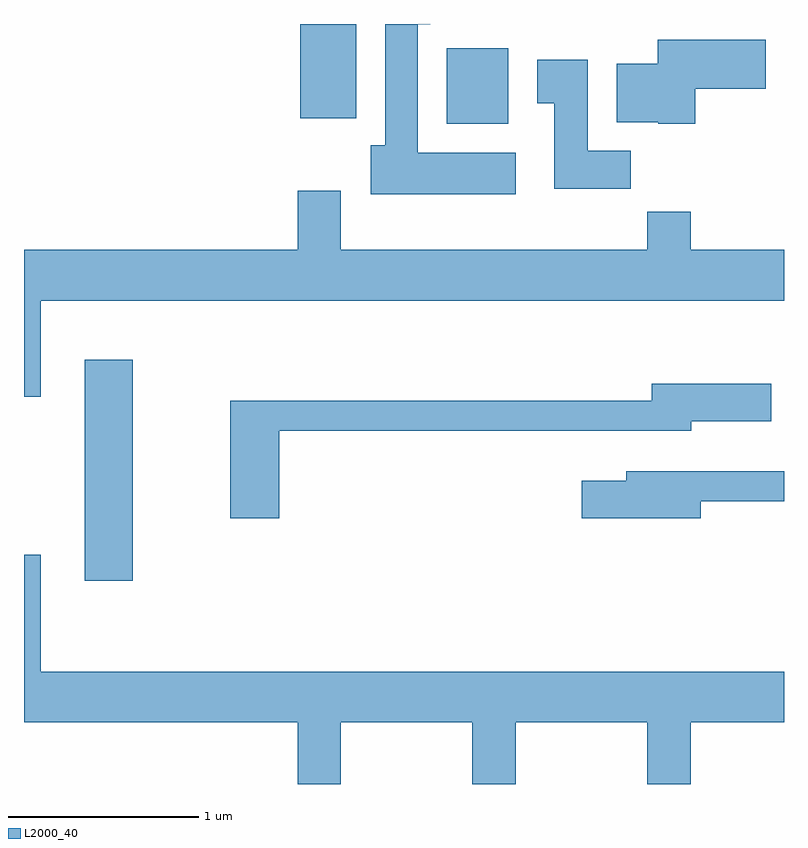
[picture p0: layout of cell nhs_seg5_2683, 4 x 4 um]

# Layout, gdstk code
import gdstk
lib = gdstk.Library(unit=1e-6, precision=1e-09)
def R(c, l, rs):  # rectangles x0, y0, x1, y1
    for r in rs: c.add(gdstk.rectangle(r[:2], r[2:], *l))
def P(c, l, *ps):  # polygons
    for p in ps: c.add(gdstk.Polygon(p, *l))
L2000_40 = (2000, 40)

nhs_seg5_2683 = lib.new_cell('nhs_seg5_2683')
R(nhs_seg5_2683, L2000_40, [(265.931,1413.141,266.184,1414.304), (267.836,1415.546,268.159,1415.944), (267.066,1415.576,267.359,1416.072)])
P(nhs_seg5_2683, L2000_40, [(268.199,1415.394),(267.684,1415.394),(267.684,1416.071),(267.748,1416.071),(267.748,1416.072),(267.511,1416.072),(267.511,1415.434),(267.436,1415.434),(267.436,1415.176),(268.199,1415.176)],
  [(269.144,1415.731),(269.514,1415.731),(269.514,1415.989),(268.946,1415.989),(268.946,1415.864),(268.731,1415.864),(268.731,1415.556),(268.95,1415.556),(268.95,1415.546),(269.144,1415.546)],
  [(268.804,1415.404),(268.579,1415.404),(268.579,1415.884),(268.311,1415.884),(268.311,1415.656),(268.401,1415.656),(268.401,1415.206),(268.804,1415.206)],
  [(265.699,1414.616),(269.611,1414.616),(269.611,1414.884),(269.119,1414.884),(269.119,1415.084),(268.891,1415.084),(268.891,1414.884),(267.279,1414.884),(267.279,1415.194),(267.051,1415.194),(267.051,1414.884),(265.611,1414.884),(265.611,1414.111),(265.699,1414.111)],
  [(266.954,1413.931),(269.124,1413.931),(269.124,1413.981),(269.544,1413.981),(269.544,1414.179),(268.916,1414.179),(268.916,1414.089),(266.696,1414.089),(266.696,1413.471),(266.954,1413.471)],
  [(269.174,1413.561),(269.611,1413.561),(269.611,1413.719),(268.781,1413.719),(268.781,1413.669),(268.546,1413.669),(268.546,1413.471),(269.174,1413.471)],
  [(267.279,1412.396),(267.971,1412.396),(267.971,1412.072),(268.199,1412.072),(268.199,1412.396),(268.891,1412.396),(268.891,1412.072),(269.119,1412.072),(269.119,1412.396),(269.611,1412.396),(269.611,1412.664),(265.699,1412.664),(265.699,1413.279),(265.611,1413.279),(265.611,1412.396),(267.051,1412.396),(267.051,1412.072),(267.279,1412.072)])

lib.write_gds('nhs_seg5_2683.gds')
